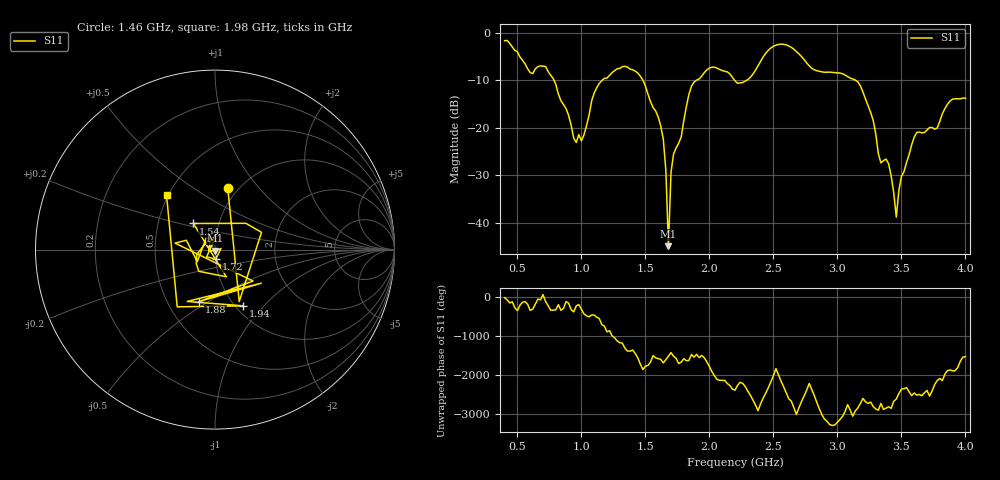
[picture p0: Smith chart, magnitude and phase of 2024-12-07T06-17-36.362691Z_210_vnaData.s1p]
!Created with skrf (http://scikit-rf.org).
# Hz S RI R 50.0
!freq ReS11 ImS11
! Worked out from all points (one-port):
!   181 points, 400 MHz to 4 GHz, reference 50 ohm
!   lowest |S11| = -44.9 dB at 1.68 GHz (marker M1), VSWR 1.01, Z = 50.1 - j0.565 ohm
!   |S11| at or under -10 dB: 786.1 MHz to 1.161 GHz (375.3 MHz wide, 38.5 % of centre); 1.481 GHz to 1.897 GHz (415.7 MHz wide, 24.6 % of centre); 3.144 GHz to end of sweep (the widest 3 of 4)
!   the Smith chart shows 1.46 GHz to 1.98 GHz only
!   S11 on the Smith chart (normalised r, x): 1.46 GHz: 0.89, +0.70; 1.54 GHz: 0.75, +0.23; 1.72 GHz: 1.00, -0.11; 1.88 GHz: 0.71, -0.46; 1.94 GHz: 1.09, -0.78; 1.98 GHz: 0.49, +0.36
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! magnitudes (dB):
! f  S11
! 400 MHz  -1.6
! 600 MHz  -8.4
! 720 MHz  -7.1
! 860 MHz  -15.1
! 1 GHz  -22.7
! 1.12 GHz  -11.5
! 1.3 GHz  -7.5
! 1.46 GHz  -9.1
! 1.54 GHz  -14.5
! 1.64 GHz  -22.4
! 1.66 GHz  -29.0
! 1.68 GHz  -44.9
! 1.7 GHz  -29.4
! 1.72 GHz  -25.5
! 1.76 GHz  -23.2
! 1.88 GHz  -10.4
! 1.94 GHz  -9.1
! 1.98 GHz  -7.8
! 2.2 GHz  -10.1
! 2.66 GHz  -3.4
! 3.1 GHz  -9.5
! 3.26 GHz  -16.7
! 3.34 GHz  -27.4
! 3.4 GHz  -27.5
! 3.46 GHz  -38.8
! 3.5 GHz  -30.2
! 3.56 GHz  -25.7
! 4 GHz  -13.8
